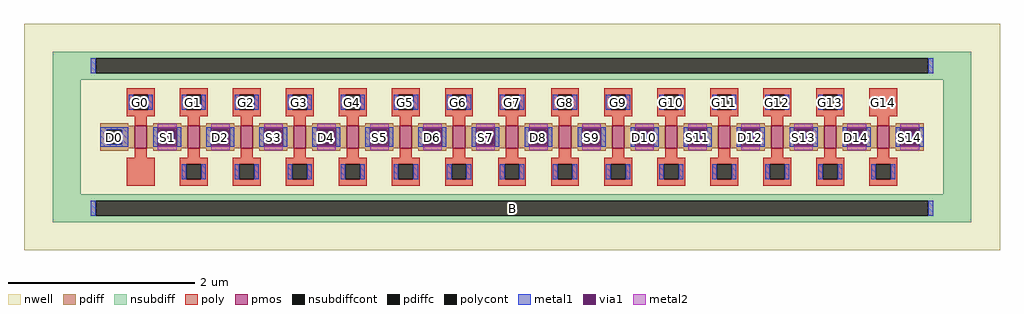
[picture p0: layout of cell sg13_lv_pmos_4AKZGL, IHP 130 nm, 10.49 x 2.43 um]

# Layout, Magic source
magic
tech ihp-sg13cmos5l
magscale 1 2
<< nwell >>
rect -1049 -243 1049 243
<< pmos >>
rect -811 -24 -785 24
rect -697 -24 -671 24
rect -583 -24 -557 24
rect -469 -24 -443 24
rect -355 -24 -329 24
rect -241 -24 -215 24
rect -127 -24 -101 24
rect -13 -24 13 24
rect 101 -24 127 24
rect 215 -24 241 24
rect 329 -24 355 24
rect 443 -24 469 24
rect 557 -24 583 24
rect 671 -24 697 24
rect 785 -24 811 24
<< pdiff >>
rect -885 24 -825 30
rect -771 24 -711 30
rect -657 24 -597 30
rect -543 24 -483 30
rect -429 24 -369 30
rect -315 24 -255 30
rect -201 24 -141 30
rect -87 24 -27 30
rect 27 24 87 30
rect 141 24 201 30
rect 255 24 315 30
rect 369 24 429 30
rect 483 24 543 30
rect 597 24 657 30
rect 711 24 771 30
rect 825 24 885 30
rect -885 16 -811 24
rect -885 -16 -871 16
rect -839 -16 -811 16
rect -885 -24 -811 -16
rect -785 16 -697 24
rect -785 -16 -757 16
rect -725 -16 -697 16
rect -785 -24 -697 -16
rect -671 16 -583 24
rect -671 -16 -643 16
rect -611 -16 -583 16
rect -671 -24 -583 -16
rect -557 16 -469 24
rect -557 -16 -529 16
rect -497 -16 -469 16
rect -557 -24 -469 -16
rect -443 16 -355 24
rect -443 -16 -415 16
rect -383 -16 -355 16
rect -443 -24 -355 -16
rect -329 16 -241 24
rect -329 -16 -301 16
rect -269 -16 -241 16
rect -329 -24 -241 -16
rect -215 16 -127 24
rect -215 -16 -187 16
rect -155 -16 -127 16
rect -215 -24 -127 -16
rect -101 16 -13 24
rect -101 -16 -73 16
rect -41 -16 -13 16
rect -101 -24 -13 -16
rect 13 16 101 24
rect 13 -16 41 16
rect 73 -16 101 16
rect 13 -24 101 -16
rect 127 16 215 24
rect 127 -16 155 16
rect 187 -16 215 16
rect 127 -24 215 -16
rect 241 16 329 24
rect 241 -16 269 16
rect 301 -16 329 16
rect 241 -24 329 -16
rect 355 16 443 24
rect 355 -16 383 16
rect 415 -16 443 16
rect 355 -24 443 -16
rect 469 16 557 24
rect 469 -16 497 16
rect 529 -16 557 16
rect 469 -24 557 -16
rect 583 16 671 24
rect 583 -16 611 16
rect 643 -16 671 16
rect 583 -24 671 -16
rect 697 16 785 24
rect 697 -16 725 16
rect 757 -16 785 16
rect 697 -24 785 -16
rect 811 16 885 24
rect 811 -16 839 16
rect 871 -16 885 16
rect 811 -24 885 -16
rect -885 -30 -825 -24
rect -771 -30 -711 -24
rect -657 -30 -597 -24
rect -543 -30 -483 -24
rect -429 -30 -369 -24
rect -315 -30 -255 -24
rect -201 -30 -141 -24
rect -87 -30 -27 -24
rect 27 -30 87 -24
rect 141 -30 201 -24
rect 255 -30 315 -24
rect 369 -30 429 -24
rect 483 -30 543 -24
rect 597 -30 657 -24
rect 711 -30 771 -24
rect 825 -30 885 -24
<< pdiffc >>
rect -871 -16 -839 16
rect -757 -16 -725 16
rect -643 -16 -611 16
rect -529 -16 -497 16
rect -415 -16 -383 16
rect -301 -16 -269 16
rect -187 -16 -155 16
rect -73 -16 -41 16
rect 41 -16 73 16
rect 155 -16 187 16
rect 269 -16 301 16
rect 383 -16 415 16
rect 497 -16 529 16
rect 611 -16 643 16
rect 725 -16 757 16
rect 839 -16 871 16
<< nsubdiff >>
rect -987 169 987 183
rect -987 137 -895 169
rect 895 137 987 169
rect -987 123 987 137
rect -987 -123 -927 123
rect 927 -123 987 123
rect -987 -137 987 -123
rect -987 -169 -895 -137
rect 895 -169 987 -137
rect -987 -183 987 -169
<< nsubdiffcont >>
rect -895 137 895 169
rect -895 -169 895 -137
<< poly >>
rect -828 91 -768 105
rect -828 59 -814 91
rect -782 59 -768 91
rect -828 45 -768 59
rect -714 91 -654 105
rect -714 59 -700 91
rect -668 59 -654 91
rect -714 45 -654 59
rect -600 91 -540 105
rect -600 59 -586 91
rect -554 59 -540 91
rect -600 45 -540 59
rect -486 91 -426 105
rect -486 59 -472 91
rect -440 59 -426 91
rect -486 45 -426 59
rect -372 91 -312 105
rect -372 59 -358 91
rect -326 59 -312 91
rect -372 45 -312 59
rect -258 91 -198 105
rect -258 59 -244 91
rect -212 59 -198 91
rect -258 45 -198 59
rect -144 91 -84 105
rect -144 59 -130 91
rect -98 59 -84 91
rect -144 45 -84 59
rect -30 91 30 105
rect -30 59 -16 91
rect 16 59 30 91
rect -30 45 30 59
rect 84 91 144 105
rect 84 59 98 91
rect 130 59 144 91
rect 84 45 144 59
rect 198 91 258 105
rect 198 59 212 91
rect 244 59 258 91
rect 198 45 258 59
rect 312 91 372 105
rect 312 59 326 91
rect 358 59 372 91
rect 312 45 372 59
rect 426 91 486 105
rect 426 59 440 91
rect 472 59 486 91
rect 426 45 486 59
rect 540 91 600 105
rect 540 59 554 91
rect 586 59 600 91
rect 540 45 600 59
rect 654 91 714 105
rect 654 59 668 91
rect 700 59 714 91
rect 654 45 714 59
rect 768 45 828 105
rect -811 24 -785 45
rect -697 24 -671 45
rect -583 24 -557 45
rect -469 24 -443 45
rect -355 24 -329 45
rect -241 24 -215 45
rect -127 24 -101 45
rect -13 24 13 45
rect 101 24 127 45
rect 215 24 241 45
rect 329 24 355 45
rect 443 24 469 45
rect 557 24 583 45
rect 671 24 697 45
rect 785 24 811 45
rect -811 -45 -785 -24
rect -697 -45 -671 -24
rect -583 -45 -557 -24
rect -469 -45 -443 -24
rect -355 -45 -329 -24
rect -241 -45 -215 -24
rect -127 -45 -101 -24
rect -13 -45 13 -24
rect 101 -45 127 -24
rect 215 -45 241 -24
rect 329 -45 355 -24
rect 443 -45 469 -24
rect 557 -45 583 -24
rect 671 -45 697 -24
rect 785 -45 811 -24
rect -828 -105 -768 -45
rect -714 -59 -654 -45
rect -714 -91 -700 -59
rect -668 -91 -654 -59
rect -714 -105 -654 -91
rect -600 -59 -540 -45
rect -600 -91 -586 -59
rect -554 -91 -540 -59
rect -600 -105 -540 -91
rect -486 -59 -426 -45
rect -486 -91 -472 -59
rect -440 -91 -426 -59
rect -486 -105 -426 -91
rect -372 -59 -312 -45
rect -372 -91 -358 -59
rect -326 -91 -312 -59
rect -372 -105 -312 -91
rect -258 -59 -198 -45
rect -258 -91 -244 -59
rect -212 -91 -198 -59
rect -258 -105 -198 -91
rect -144 -59 -84 -45
rect -144 -91 -130 -59
rect -98 -91 -84 -59
rect -144 -105 -84 -91
rect -30 -59 30 -45
rect -30 -91 -16 -59
rect 16 -91 30 -59
rect -30 -105 30 -91
rect 84 -59 144 -45
rect 84 -91 98 -59
rect 130 -91 144 -59
rect 84 -105 144 -91
rect 198 -59 258 -45
rect 198 -91 212 -59
rect 244 -91 258 -59
rect 198 -105 258 -91
rect 312 -59 372 -45
rect 312 -91 326 -59
rect 358 -91 372 -59
rect 312 -105 372 -91
rect 426 -59 486 -45
rect 426 -91 440 -59
rect 472 -91 486 -59
rect 426 -105 486 -91
rect 540 -59 600 -45
rect 540 -91 554 -59
rect 586 -91 600 -59
rect 540 -105 600 -91
rect 654 -59 714 -45
rect 654 -91 668 -59
rect 700 -91 714 -59
rect 654 -105 714 -91
rect 768 -59 828 -45
rect 768 -91 782 -59
rect 814 -91 828 -59
rect 768 -105 828 -91
<< polycont >>
rect -814 59 -782 91
rect -700 59 -668 91
rect -586 59 -554 91
rect -472 59 -440 91
rect -358 59 -326 91
rect -244 59 -212 91
rect -130 59 -98 91
rect -16 59 16 91
rect 98 59 130 91
rect 212 59 244 91
rect 326 59 358 91
rect 440 59 472 91
rect 554 59 586 91
rect 668 59 700 91
rect -700 -91 -668 -59
rect -586 -91 -554 -59
rect -472 -91 -440 -59
rect -358 -91 -326 -59
rect -244 -91 -212 -59
rect -130 -91 -98 -59
rect -16 -91 16 -59
rect 98 -91 130 -59
rect 212 -91 244 -59
rect 326 -91 358 -59
rect 440 -91 472 -59
rect 554 -91 586 -59
rect 668 -91 700 -59
rect 782 -91 814 -59
<< metal1 >>
rect -905 137 -895 169
rect 895 137 905 169
rect -824 59 -814 91
rect -782 59 -772 91
rect -710 59 -700 91
rect -668 59 -658 91
rect -596 59 -586 91
rect -554 59 -544 91
rect -482 59 -472 91
rect -440 59 -430 91
rect -368 59 -358 91
rect -326 59 -316 91
rect -254 59 -244 91
rect -212 59 -202 91
rect -140 59 -130 91
rect -98 59 -88 91
rect -26 59 -16 91
rect 16 59 26 91
rect 88 59 98 91
rect 130 59 140 91
rect 202 59 212 91
rect 244 59 254 91
rect 316 59 326 91
rect 358 59 368 91
rect 430 59 440 91
rect 472 59 482 91
rect 544 59 554 91
rect 586 59 596 91
rect 658 59 668 91
rect 700 59 710 91
rect -885 16 -825 21
rect -885 -16 -871 16
rect -839 -16 -825 16
rect -885 -21 -825 -16
rect -771 20 -711 21
rect -771 -20 -761 20
rect -721 -20 -711 20
rect -771 -21 -711 -20
rect -657 20 -597 21
rect -657 -20 -647 20
rect -607 -20 -597 20
rect -657 -21 -597 -20
rect -543 20 -483 21
rect -543 -20 -533 20
rect -493 -20 -483 20
rect -543 -21 -483 -20
rect -429 20 -369 21
rect -429 -20 -419 20
rect -379 -20 -369 20
rect -429 -21 -369 -20
rect -315 20 -255 21
rect -315 -20 -305 20
rect -265 -20 -255 20
rect -315 -21 -255 -20
rect -201 20 -141 21
rect -201 -20 -191 20
rect -151 -20 -141 20
rect -201 -21 -141 -20
rect -87 20 -27 21
rect -87 -20 -77 20
rect -37 -20 -27 20
rect -87 -21 -27 -20
rect 27 20 87 21
rect 27 -20 37 20
rect 77 -20 87 20
rect 27 -21 87 -20
rect 141 20 201 21
rect 141 -20 151 20
rect 191 -20 201 20
rect 141 -21 201 -20
rect 255 20 315 21
rect 255 -20 265 20
rect 305 -20 315 20
rect 255 -21 315 -20
rect 369 20 429 21
rect 369 -20 379 20
rect 419 -20 429 20
rect 369 -21 429 -20
rect 483 20 543 21
rect 483 -20 493 20
rect 533 -20 543 20
rect 483 -21 543 -20
rect 597 20 657 21
rect 597 -20 607 20
rect 647 -20 657 20
rect 597 -21 657 -20
rect 711 20 771 21
rect 711 -20 721 20
rect 761 -20 771 20
rect 711 -21 771 -20
rect 825 20 885 21
rect 825 -20 835 20
rect 875 -20 885 20
rect 825 -21 885 -20
rect -710 -91 -700 -59
rect -668 -91 -658 -59
rect -596 -91 -586 -59
rect -554 -91 -544 -59
rect -482 -91 -472 -59
rect -440 -91 -430 -59
rect -368 -91 -358 -59
rect -326 -91 -316 -59
rect -254 -91 -244 -59
rect -212 -91 -202 -59
rect -140 -91 -130 -59
rect -98 -91 -88 -59
rect -26 -91 -16 -59
rect 16 -91 26 -59
rect 88 -91 98 -59
rect 130 -91 140 -59
rect 202 -91 212 -59
rect 244 -91 254 -59
rect 316 -91 326 -59
rect 358 -91 368 -59
rect 430 -91 440 -59
rect 472 -91 482 -59
rect 544 -91 554 -59
rect 586 -91 596 -59
rect 658 -91 668 -59
rect 700 -91 710 -59
rect 772 -91 782 -59
rect 814 -91 824 -59
rect -905 -169 -895 -137
rect 895 -169 905 -137
<< via1 >>
rect -761 16 -721 20
rect -761 -16 -757 16
rect -757 -16 -725 16
rect -725 -16 -721 16
rect -761 -20 -721 -16
rect -647 16 -607 20
rect -647 -16 -643 16
rect -643 -16 -611 16
rect -611 -16 -607 16
rect -647 -20 -607 -16
rect -533 16 -493 20
rect -533 -16 -529 16
rect -529 -16 -497 16
rect -497 -16 -493 16
rect -533 -20 -493 -16
rect -419 16 -379 20
rect -419 -16 -415 16
rect -415 -16 -383 16
rect -383 -16 -379 16
rect -419 -20 -379 -16
rect -305 16 -265 20
rect -305 -16 -301 16
rect -301 -16 -269 16
rect -269 -16 -265 16
rect -305 -20 -265 -16
rect -191 16 -151 20
rect -191 -16 -187 16
rect -187 -16 -155 16
rect -155 -16 -151 16
rect -191 -20 -151 -16
rect -77 16 -37 20
rect -77 -16 -73 16
rect -73 -16 -41 16
rect -41 -16 -37 16
rect -77 -20 -37 -16
rect 37 16 77 20
rect 37 -16 41 16
rect 41 -16 73 16
rect 73 -16 77 16
rect 37 -20 77 -16
rect 151 16 191 20
rect 151 -16 155 16
rect 155 -16 187 16
rect 187 -16 191 16
rect 151 -20 191 -16
rect 265 16 305 20
rect 265 -16 269 16
rect 269 -16 301 16
rect 301 -16 305 16
rect 265 -20 305 -16
rect 379 16 419 20
rect 379 -16 383 16
rect 383 -16 415 16
rect 415 -16 419 16
rect 379 -20 419 -16
rect 493 16 533 20
rect 493 -16 497 16
rect 497 -16 529 16
rect 529 -16 533 16
rect 493 -20 533 -16
rect 607 16 647 20
rect 607 -16 611 16
rect 611 -16 643 16
rect 643 -16 647 16
rect 607 -20 647 -16
rect 721 16 761 20
rect 721 -16 725 16
rect 725 -16 757 16
rect 757 -16 761 16
rect 721 -20 761 -16
rect 835 16 875 20
rect 835 -16 839 16
rect 839 -16 871 16
rect 871 -16 875 16
rect 835 -20 875 -16
<< metal2 >>
rect -761 20 -721 29
rect -761 -29 -721 -20
rect -647 20 -607 29
rect -647 -29 -607 -20
rect -533 20 -493 29
rect -533 -29 -493 -20
rect -419 20 -379 29
rect -419 -29 -379 -20
rect -305 20 -265 29
rect -305 -29 -265 -20
rect -191 20 -151 29
rect -191 -29 -151 -20
rect -77 20 -37 29
rect -77 -29 -37 -20
rect 37 20 77 29
rect 37 -29 77 -20
rect 151 20 191 29
rect 151 -29 191 -20
rect 265 20 305 29
rect 265 -29 305 -20
rect 379 20 419 29
rect 379 -29 419 -20
rect 493 20 533 29
rect 493 -29 533 -20
rect 607 20 647 29
rect 607 -29 647 -20
rect 721 20 761 29
rect 721 -29 761 -20
rect 835 20 875 29
rect 835 -29 875 -20
<< labels >>
rlabel pdiffc -855 0 -855 0 0 D0
port 2 nsew
rlabel pdiffc -741 0 -741 0 0 S1
port 4 nsew
rlabel pdiffc -627 0 -627 0 0 D2
port 6 nsew
rlabel pdiffc -513 0 -513 0 0 S3
port 8 nsew
rlabel pdiffc -399 0 -399 0 0 D4
port 10 nsew
rlabel pdiffc -285 0 -285 0 0 S5
port 12 nsew
rlabel pdiffc -171 0 -171 0 0 D6
port 14 nsew
rlabel pdiffc -57 0 -57 0 0 S7
port 16 nsew
rlabel pdiffc 57 0 57 0 0 D8
port 18 nsew
rlabel pdiffc 171 0 171 0 0 S9
port 20 nsew
rlabel pdiffc 285 0 285 0 0 D10
port 22 nsew
rlabel pdiffc 399 0 399 0 0 S11
port 24 nsew
rlabel pdiffc 513 0 513 0 0 D12
port 26 nsew
rlabel pdiffc 627 0 627 0 0 S13
port 28 nsew
rlabel pdiffc 741 0 741 0 0 D14
port 30 nsew
rlabel pdiffc 855 0 855 0 0 S14
port 31 nsew
rlabel polycont -798 75 -798 75 0 G0
port 3 nsew
rlabel polycont -684 75 -684 75 0 G1
port 5 nsew
rlabel polycont -570 75 -570 75 0 G2
port 7 nsew
rlabel polycont -456 75 -456 75 0 G3
port 9 nsew
rlabel polycont -342 75 -342 75 0 G4
port 11 nsew
rlabel polycont -228 75 -228 75 0 G5
port 13 nsew
rlabel polycont -114 75 -114 75 0 G6
port 15 nsew
rlabel polycont 0 75 0 75 0 G7
port 17 nsew
rlabel polycont 114 75 114 75 0 G8
port 19 nsew
rlabel polycont 228 75 228 75 0 G9
port 21 nsew
rlabel polycont 342 75 342 75 0 G10
port 23 nsew
rlabel polycont 456 75 456 75 0 G11
port 25 nsew
rlabel polycont 570 75 570 75 0 G12
port 27 nsew
rlabel polycont 684 75 684 75 0 G13
port 29 nsew
rlabel poly 798 75 798 75 0 G14
port 32 nsew
rlabel nsubdiffcont 0 -153 0 -153 0 B
port 1 nsew
<< properties >>
string FIXED_BBOX -957 -148 957 148
string gencell sg13_lv_pmos
string library sg13cmos5l
string parameters w 0.24 l 0.13 m 1 ng 15 diffcov 85 polycov 100 guard 1 glc 0 grc 0 gtc 1 gbc 1 tbcov 100 rlcov 100 topc 1 botc 1 poverlap 0 doverlap 1 lmin 0.13 wmin 0.15 class mosfet compatible {sg13_lv_pmos sg13_hv_pmos} full_metal 0 conn_gates 0 gate_ring 0 ccols 1 viasrc 100 viadrn 100 viagate 0 viagb 0 viagr 0 viagl 0 viagt 0 doports 1
<< end >>
